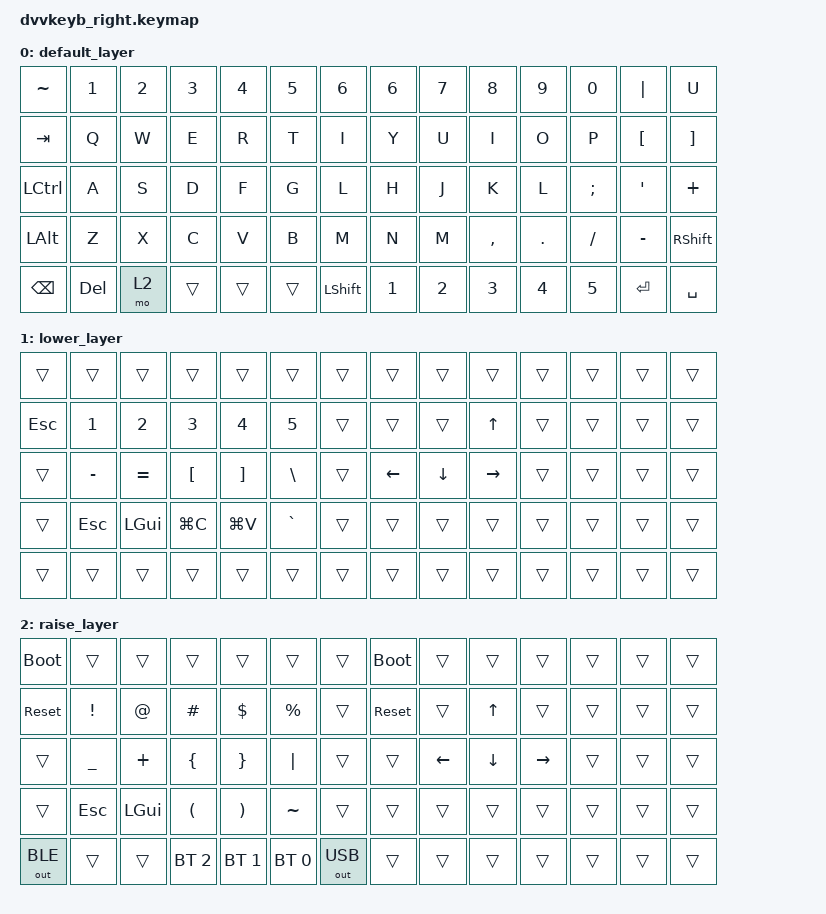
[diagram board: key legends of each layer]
 
/*
 * Copyright (c) 2021 The ZMK Contributors
 *
 * SPDX-License-Identifier: MIT
 */

#include <behaviors.dtsi>
#include <dt-bindings/zmk/keys.h>
#include <dt-bindings/zmk/bt.h>
#include <dt-bindings/zmk/ext_power.h>
#include <dt-bindings/zmk/outputs.h>

/ {
    keymap {
        compatible = "zmk,keymap";
        transform = &trans_right;
        default_layer {
            /*
             * Правая половинка клавиатуры (7x4 + островок 7x1)
             * Столбцы: 0-13 (14 столбцов)
             * Ряды: 0-4 (5 рядов)
             * 
             * ┌───┬───┬───┬───┬───┬───┬───┐
             * │~  │ 1 │ 2 │ 3 │ 4 │ 5 │ 6 │  <- Ряд 0
             * ├───┼───┼───┼───┼───┼───┼───┤
             * │TAB│ Q │ W │ E │ R │ T │ I │  <- Ряд 1 (QWERTY)
             * ├───┼───┼───┼───┼───┼───┼───┤
             * │CTL│ A │ S │ D │ F │ G │ L │  <- Ряд 2 (QWERTY)
             * ├───┼───┼───┼───┼───┼───┼───┤
             * │ALT│ Z │ X │ C │ V │ B │ M │  <- Ряд 3 (QWERTY)
             * └───┴───┴───┴───┴───┴───┴───┘
             * 
             * ┌───┬───┬───┬───┬───┬───┬───┐
             * │BSP│DEL│mo2│   │   │   │SFT│  <- Ряд 4 (островок)
             * └───┴───┴───┴───┴───┴───┴───┘
             * 
             * Правая часть (столбцы 7-13):
             * ┌───┬───┬───┬───┬───┬───┬───┐
             * │ 6 │ 7 │ 8 │ 9 │ 0 │ | │ U │
             * ├───┼───┼───┼───┼───┼───┼───┤
             * │ Y │ U │ I │ O │ P │ [ │ ] │
              * ├───┼───┼───┼───┼───┼───┼───┤
               * │ H │ J │ K │ L │ ; │ ' │ + │
             * ├───┼───┼───┼───┼───┼───┼───┤
             * │ N │ M │ , │ . │ / │ - │SFT│
             * └───┴───┴───┴───┴───┴───┴───┘
             * 
             * ┌───┬───┬───┬───┬───┬───┬───┐
             * │ 1 │ 2 │ 3 │ 4 │ 5 │ENT│SPC│  <- Островок (правая часть)
             * └───┴───┴───┴───┴───┴───┴───┘
             */
            bindings = <
                &kp TILDE &kp N1 &kp N2 &kp N3 &kp N4 &kp N5 &kp 6      &kp N6    &kp N7    &kp N8    &kp N9    &kp N0    &kp PIPE      &kp U
                &kp TAB   &kp Q  &kp W  &kp E  &kp R  &kp T  &kp I      &kp Y     &kp U     &kp I     &kp O     &kp P     &kp LBKT      &kp RBKT
                &kp LCTRL &kp A  &kp S  &kp D  &kp F  &kp G  &kp L      &kp H     &kp J     &kp K     &kp L     &kp SEMI  &kp SQT       &kp PLUS
                &kp LALT  &kp Z  &kp X  &kp C  &kp V  &kp B  &kp M      &kp N     &kp M     &kp COMMA &kp DOT   &kp FSLH  &kp MINUS     &kp RSHIFT
                &kp BSPC  &kp DEL &mo 2 &trans &trans &trans &kp LSHIFT &kp N1    &kp N2    &kp N3    &kp N4    &kp N5    &kp RETURN    &kp SPACE
            >;
        };

       lower_layer {
            /*
             * ┌───┬───┬───┬───┬───┬───┬───┐
             * │   │   │   │   │   │   │   │  <- Ряд 0
             * ├───┼───┼───┼───┼───┼───┼───┤
             * │ESC│ 1 │ 2 │ 3 │ 4 │ 5 │   │  <- Ряд 1
             * ├───┼───┼───┼───┼───┼───┼───┤
             * │   │ - │ = │ [ │ ] │ \ │   │  <- Ряд 2
             * ├───┼───┼───┼───┼───┼───┼───┤
             * │   │ESC│GUI│CPY│PST│   │   │  <- Ряд 3
             * └───┴───┴───┴───┴───┴───┴───┘
             * 
             * ┌───┬───┬───┬───┬───┬───┬───┐
             * │   │   │   │   │   │   │   │  <- Островок
             * └───┴───┴───┴───┴───┴───┴───┘
             * 
             * Правая часть (столбцы 7-13):
             * ┌───┬───┬───┬───┬───┬───┬───┐
             * │   │   │   │   │   │   │   │
             * ├───┼───┼───┼───┼───┼───┼───┤
             * │   │   │UP │   │   │   │   │
             * ├───┼───┼───┼───┼───┼───┼───┤
             * │   │LFT│DWN│RGT│   │   │   │
             * ├───┼───┼───┼───┼───┼───┼───┤
             * │   │   │   │   │   │   │   │
             * └───┴───┴───┴───┴───┴───┴───┘
             * 
             * ┌───┬───┬───┬───┬───┬───┬───┐
             * │   │   │   │   │   │   │   │  <- Островок (правая часть)
             * └───┴───┴───┴───┴───┴───┴───┘
             */
            bindings = <
                &trans &trans &trans &trans &trans &trans &trans            &trans &trans &trans &trans &trans &trans &trans
                &kp ESC &kp N1 &kp N2 &kp N3 &kp N4 &kp N5 &trans           &trans &trans &kp UP &trans &trans &trans &trans
                &trans &kp MINUS &kp EQUAL &kp LBKT &kp RBKT &kp BSLH       &trans &kp LEFT &kp DOWN &kp RIGHT &trans &trans &trans &trans
                &trans &kp ESC &kp LGUI &kp LG(C) &kp LG(V) &kp GRAVE       &trans &trans &trans &trans &trans &trans &trans &trans
                &trans &trans &trans &trans &trans &trans &trans        &trans &trans &trans &trans &trans &trans &trans
            >;
        };

        raise_layer {
            /*
             * ┌───┬───┬───┬───┬───┬───┬───┐
             * │BOOT│   │   │   │   │   │   │  <- Ряд 0
             * ├───┼───┼───┼───┼───┼───┼───┤
             * │RST│ ! │ @ │ # │ $ │ % │   │  <- Ряд 1
             * ├───┼───┼───┼───┼───┼───┼───┤
             * │   │ _ │ + │ { │ } │ | │   │  <- Ряд 2
             * ├───┼───┼───┼───┼───┼───┼───┤
             * │   │ESC│GUI│ ( │ ) │ ~ │   │  <- Ряд 3
             * └───┴───┴───┴───┴───┴───┴───┘
             * 
             * ┌───┬───┬───┬───┬───┬───┬───┐
             * │BLE│   │   │BT2│BT1│BT0│USB│  <- Островок
             * └───┴───┴───┴───┴───┴───┴───┘
             * 
             * Правая часть (столбцы 7-13):
             * ┌───┬───┬───┬───┬───┬───┬───┐
             * │BOOT│   │   │   │   │   │   │
             * ├───┼───┼───┼───┼───┼───┼───┤
             * │RST│   │   │   │   │   │   │
             * ├───┼───┼───┼───┼───┼───┼───┤
             * │   │   │   │   │   │   │   │
             * ├───┼───┼───┼───┼───┼───┼───┤
             * │   │   │   │   │   │   │   │
             * └───┴───┴───┴───┴───┴───┴───┘
             * 
             * ┌───┬───┬───┬───┬───┬───┬───┐
             * │   │   │   │   │   │   │   │  <- Островок (правая часть)
             * └───┴───┴───┴───┴───┴───┴───┘
             * 
             * ОСТРОВКИ (отдельно):
             * 
             * Левая половинка (островок):
             * ┌───┬───┬───┬───┬───┬───┬───┐
             * │BSP│DEL│mo2│   │   │   │SFT│  <- Default layer
             * └───┴───┴───┴───┴───┴───┴───┘
             * 
             * ┌───┬───┬───┬───┬───┬───┬───┐
             * │   │   │   │   │   │   │   │  <- Lower layer

             * └───┴───┴───┴───┴───┴───┴───┘
             * 
             * ┌───┬───┬───┬───┬───┬───┬───┐
             * │BLE│   │   │BT2│BT1│BT0│USB│  <- Raise layer
             * └───┴───┴───┴───┴───┴───┴───┘
             * 
             * Правая половинка (островок):
             * ┌───┬───┬───┬───┬───┬───┬───┐
             * │ 1 │ 2 │ 3 │ 4 │ 5 │ENT│SPC│  <- Default layer
             * └───┴───┴───┴───┴───┴───┴───┘
             * 
             * ┌───┬───┬───┬───┬───┬───┬───┐
             * │   │   │   │   │   │   │   │  <- Lower layer
             * └───┴───┴───┴───┴───┴───┴───┘
             * 
             * ┌───┬───┬───┬───┬───┬───┬───┐
             * │   │   │   │   │   │   │   │  <- Raise layer
             * └───┴───┴───┴───┴───┴───┴───┘
             */
            bindings = <
                &bootloader &trans &trans &trans &trans &trans &trans           &bootloader &trans &trans &trans &trans &trans &trans
                &sys_reset &kp EXCL &kp AT &kp HASH &kp DLLR &kp PRCNT &trans   &sys_reset &trans &kp UP &trans &trans &trans &trans
                &trans &kp UNDER &kp PLUS &kp LBRC &kp RBRC &kp PIPE &trans     &trans &kp LEFT &kp DOWN &kp RIGHT &trans &trans &trans
                &trans &kp ESC &kp LGUI &kp LPAR &kp RPAR &kp TILDE &trans      &trans &trans &trans &trans &trans &trans &trans
                &out OUT_BLE &trans &trans &bt BT_SEL 2 &bt BT_SEL 1 &bt BT_SEL 0 &out OUT_USB  &trans &trans &trans &trans &trans &trans &trans
            >;
        };
    };
};
